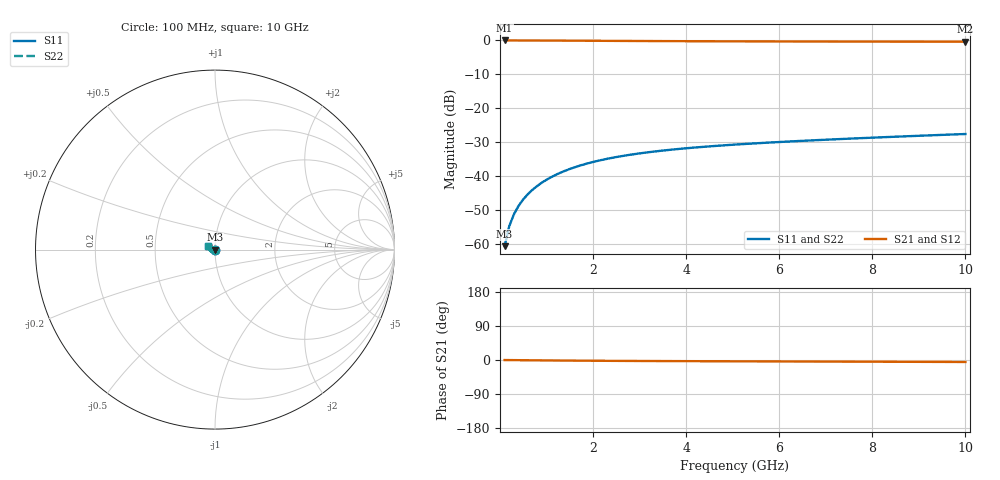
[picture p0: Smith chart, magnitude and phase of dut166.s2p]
! Touchstone file exported from HFSS 2024.1.0
!  File:  C:/UserFiles/LocalFiles/RDL_TSV_Batchsim/temp_TSV1_166_1779382865.aedt
!  Generated:  01:07:21 AM May 22, 2026
!  Design:  TSV1
!  Project:  temp_TSV1_166_1779382865
!  Setup:  Setup1
!  Solution:  Sweep
! Variables:
!  dtsv = 8.45um
!  hbump = 3um
!  htsv = 77.56um
!  lrdl = 252.1521522um
!  p = 40
!  p1 = 57.62um
!  t = 500um
!  trdl = 3um
!  wrdl = 24.89489489um
# GHz S MA R 50.000000
! Terminal data exported
! Port[1] = TSV22_T1
! Port[2] = TSV22_T2
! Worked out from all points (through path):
!   100 points, 100 MHz to 10 GHz, reference 50 ohm
!   highest |S21| = 0.00 dB at 100 MHz (marker M1); lowest = -0.4 dB at 10 GHz (marker M2)
!   lowest |S11| = -60.7 dB at 100 MHz (marker M3), VSWR 1.00, Z = 50 - j0.0913 ohm
!   |S11| at or under -10 dB: start of sweep to end of sweep
!   |S22| runs from -60.7 to -27.6 dB; largest |S21 - S12| = 4e-15
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0.1  0.0009272 -79.9  0.9998 -0.1  0.9998 -0.1  0.0009272 -79.9
! Gamma 0 0 0 0
! Port Impedance 50 0 50 0
0.2  0.001831 -88.0  0.9996 -0.2  0.9996 -0.2  0.001831 -88.0
0.3  0.002739 -92.3  0.9995 -0.3  0.9995 -0.3  0.002739 -92.3
0.4  0.003642 -95.5  0.9992 -0.5  0.9992 -0.5  0.003642 -95.5
0.5  0.004538 -98.3  0.9989 -0.6  0.9989 -0.6  0.004538 -98.3
0.6  0.005424 -100.9  0.9985 -0.7  0.9985 -0.7  0.005424 -100.9
0.7  0.006298 -103.4  0.9981 -0.8  0.9981 -0.8  0.006298 -103.4
0.8  0.00716 -105.7  0.9976 -0.9  0.9976 -0.9  0.00716 -105.7
0.9  0.008007 -108.0  0.997 -1.0  0.997 -1.0  0.008007 -108.0
1.1  0.009655 -112.4  0.9958 -1.2  0.9958 -1.2  0.009655 -112.4
1.4  0.01199 -118.7  0.9937 -1.5  0.9937 -1.5  0.01199 -118.7
1.6  0.01346 -122.6  0.9922 -1.7  0.9922 -1.7  0.01346 -122.6
1.8  0.01484 -126.5  0.9906 -1.8  0.9906 -1.8  0.01484 -126.5
2.1  0.01678 -131.9  0.9882 -2.0  0.9882 -2.0  0.01678 -131.9
2.5  0.0191 -138.7  0.985 -2.3  0.985 -2.3  0.0191 -138.7
2.9  0.02115 -145.0  0.982 -2.5  0.982 -2.5  0.02115 -145.0
3.4  0.02339 -152.1  0.9786 -2.8  0.9786 -2.8  0.02339 -152.1
4.2  0.02643 -162.2  0.9739 -3.1  0.9739 -3.1  0.02643 -162.2
5.1  0.02929 -171.8  0.9697 -3.5  0.9697 -3.5  0.02929 -171.8
6.7  0.03364 174.2  0.9646 -4.0  0.9646 -4.0  0.03364 174.2
8.4  0.03785 162.5  0.9611 -4.6  0.9611 -4.6  0.03785 162.5
10  0.04175 153.6  0.9588 -5.2  0.9588 -5.2  0.04175 153.6
